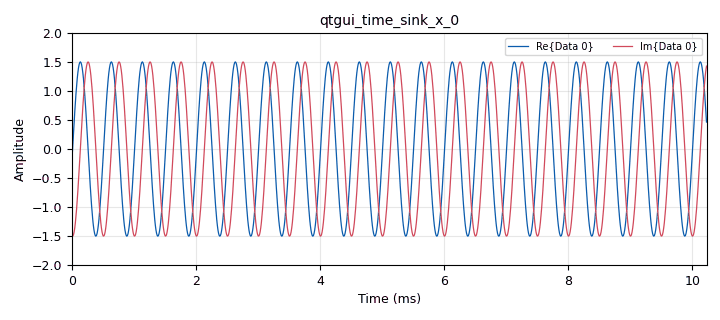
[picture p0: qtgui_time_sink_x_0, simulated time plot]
options:
  parameters:
    author: Marcus Müller
    copyright: 2020 Free Software Foundation
    generate_options: qt_gui
    id: demonstrate_signal_source_message_ports
    output_language: python
    title: 'Demonstration: Signal Source Message Ports'
  states: {}

blocks:
- name: analog_sig_source_x_0
  id: analog_sig_source_x
  parameters:
    amp: '1'
    freq: '1000'
    offset: '0'
    phase: '0'
    samp_rate: samp_rate
    showports: 'True'
    type: complex
    waveform: analog.GR_COS_WAVE
  states: {}
- name: blocks_message_strobe_0
  id: blocks_message_strobe
  parameters:
    comment: |-
      sets the amplitude
      and frequency every
      second
    msg: 'pmt.to_pmt({"freq": 2000, "ampl":1.5})'
    period: '1000'
  states: {}
- name: blocks_message_strobe_random_0
  id: blocks_message_strobe_random
  parameters:
    comment: |-
      resets the phase
      at random points
      in time
    dist: blocks.STROBE_GAUSSIAN
    mean: '200'
    msg: pmt.to_pmt({"phase":0.0})
    std: '40'
  states: {}
- name: blocks_throttle2_0
  id: blocks_throttle2
  parameters:
    samples_per_second: samp_rate
    type: complex
  states: {}
- name: qtgui_time_sink_x_0
  id: qtgui_time_sink_x
  parameters:
    size: '1024'
    srate: samp_rate
    tr_mode: qtgui.TRIG_MODE_NORM
    type: complex
    ymax: '2'
    ymin: '-2'
  states: {}
- name: samp_rate
  id: parameter
  parameters:
    label: Sampling Rate [Hz]
    short_id: r
    type: eng_float
    value: 100e3
  states: {}

connections:
- [analog_sig_source_x_0, '0', blocks_throttle2_0, '0']
- [blocks_message_strobe_0, strobe, blocks_message_strobe_random_0, set_msg]
- [blocks_message_strobe_random_0, strobe, analog_sig_source_x_0, cmd]
- [blocks_throttle2_0, '0', qtgui_time_sink_x_0, '0']

metadata:
  file_format: 1
  grc_version: 3.10.10.0
